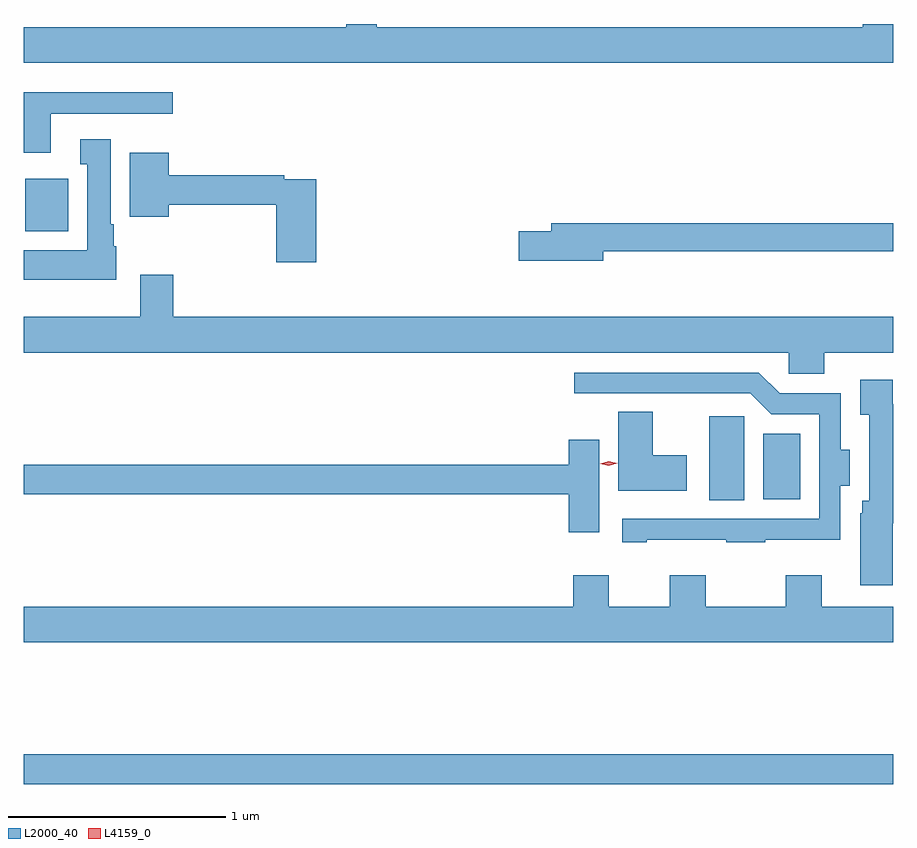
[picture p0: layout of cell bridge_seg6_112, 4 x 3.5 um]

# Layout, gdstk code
import gdstk
lib = gdstk.Library(unit=1e-6, precision=1e-09)
def R(c, l, rs):  # rectangles x0, y0, x1, y1
    for r in rs: c.add(gdstk.rectangle(r[:2], r[2:], *l))
def P(c, l, *ps):  # polygons
    for p in ps: c.add(gdstk.Polygon(p, *l))
L2000_40 = (2000, 40)
L4159_0 = (4159, 0)

bridge_seg6_112 = lib.new_cell('bridge_seg6_112')
R(bridge_seg6_112, L2000_40, [(455.877,977.32,459.877,977.456), (459.029,978.625,459.19,979.012), (459.278,978.629,459.448,978.931), (455.885,979.862,456.082,980.104)])
P(bridge_seg6_112, L2000_40, [(459.877,980.815),(459.737,980.815),(459.737,980.8),(457.501,980.8),(457.501,980.815),(457.361,980.815),(457.361,980.8),(455.877,980.8),(455.877,980.636),(459.877,980.636)],
  [(456.001,980.403),(456.562,980.403),(456.562,980.5),(455.877,980.5),(455.877,980.222),(456.001,980.222)],
  [(456.304,979.794),(456.292,979.794),(456.292,979.894),(456.277,979.894),(456.277,980.284),(456.137,980.284),(456.137,980.171),(456.17,980.171),(456.17,979.774),(455.877,979.774),(455.877,979.64),(456.304,979.64)],
  [(457.223,980.1),(457.076,980.1),(457.076,980.12),(456.544,980.12),(456.544,980.224),(456.365,980.224),(456.365,979.928),(456.544,979.928),(456.544,979.984),(457.04,979.984),(457.04,979.719),(457.223,979.719)],
  [(458.542,979.77),(459.877,979.77),(459.877,979.898),(458.303,979.898),(458.303,979.862),(458.154,979.862),(458.154,979.727),(458.542,979.727)],
  [(459.56,979.304),(459.877,979.304),(459.877,979.468),(456.566,979.468),(456.566,979.663),(456.413,979.663),(456.413,979.468),(455.877,979.468),(455.877,979.304),(459.396,979.304),(459.396,979.206),(459.56,979.206)],
  [(458.743,978.443),(459.109,978.443),(459.109,978.432),(459.287,978.432),(459.287,978.443),(459.633,978.443),(459.633,978.692),(459.676,978.692),(459.676,978.856),(459.634,978.856),(459.634,979.116),(459.354,979.116),(459.258,979.212),(458.409,979.212),(458.409,979.116),(459.219,979.116),(459.315,979.02),(459.537,979.02),(459.537,978.54),(458.631,978.54),(458.631,978.432),(458.743,978.432)],
  [(459.875,978.518),(459.877,978.518),(459.877,979.067),(459.874,979.067),(459.874,979.18),(459.725,979.18),(459.725,979.019),(459.765,979.019),(459.765,978.622),(459.734,978.622),(459.734,978.564),(459.725,978.564),(459.725,978.234),(459.875,978.234)],
  [(458.926,978.832),(458.77,978.832),(458.77,979.031),(458.612,979.031),(458.612,978.668),(458.926,978.668)],
  [(458.524,978.904),(458.384,978.904),(458.384,978.788),(455.877,978.788),(455.877,978.652),(458.384,978.652),(458.384,978.477),(458.524,978.477)],
  [(459.877,978.136),(459.547,978.136),(459.547,978.28),(459.383,978.28),(459.383,978.136),(459.013,978.136),(459.013,978.28),(458.849,978.28),(458.849,978.136),(458.569,978.136),(458.569,978.28),(458.405,978.28),(458.405,978.136),(455.877,978.136),(455.877,977.972),(459.877,977.972)])
P(bridge_seg6_112, L4159_0, [(458.568,978.784),(458.528,978.793),(458.528,978.793),(458.528,978.793),(458.568,978.804),(458.608,978.794),(458.608,978.794),(458.608,978.794)])

lib.write_gds('bridge_seg6_112.gds')
